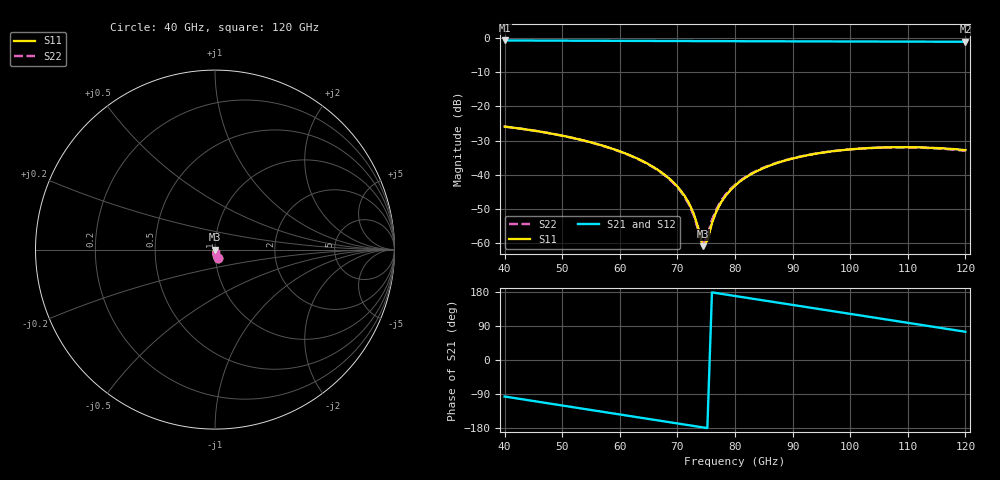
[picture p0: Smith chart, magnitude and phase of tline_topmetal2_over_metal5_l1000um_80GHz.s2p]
#  GHZ S DB R 50
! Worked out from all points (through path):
!   101 points, 40 GHz to 120 GHz, reference 50 ohm
!   highest |S21| = -0.73 dB at 40 GHz (marker M1); lowest = -1.1 dB at 120 GHz (marker M2)
!   group delay of S21, straight-line fit = 6.57 ps
!   lowest |S11| = -60.9 dB at 74.4 GHz (marker M3), VSWR 1.00, Z = 50 - j0.0898 ohm
!   |S11| at or under -10 dB: start of sweep to end of sweep
!   |S22| runs from -60.7 to -25.9 dB; largest |S21 - S12| = 1e-14
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40  -25.92 -70.3  -0.73 -96.3  -0.73 -96.3  -25.93 -70.3
46.4  -27.46 -84.9  -0.76 -111.5  -0.76 -111.5  -27.48 -84.9
53.6  -29.94 -101.2  -0.80 -128.6  -0.80 -128.6  -29.97 -101.1
61.6  -34.22 -118.8  -0.85 -147.5  -0.85 -147.5  -34.29 -118.5
67.2  -39.29 -129.9  -0.88 -160.8  -0.88 -160.8  -39.43 -129.4
69.6  -42.76 -133.3  -0.89 -166.5  -0.89 -166.5  -42.96 -132.5
72  -48.32 -133.1  -0.90 -172.1  -0.90 -172.1  -48.70 -131.1
72.8  -51.26 -129.9  -0.91 -174.0  -0.91 -174.0  -51.75 -126.8
73.6  -55.40 -120.4  -0.91 -175.9  -0.91 -175.9  -56.01 -114.3
74.4  -60.92 -86.2  -0.91 -177.8  -0.91 -177.8  -60.68 -73.0
75.2  -59.34 -21.8  -0.92 -179.7  -0.92 -179.7  -57.89 -18.0
76  -54.16 0.7  -0.92 178.4  -0.92 178.4  -53.27 0.7
76.8  -50.59 7.4  -0.93 176.5  -0.93 176.5  -50.00 6.8
78.4  -46.08 10.2  -0.93 172.8  -0.93 172.8  -45.73 9.6
80  -43.19 9.2  -0.94 169.0  -0.94 169.0  -42.94 8.7
82.4  -40.24 5.5  -0.95 163.3  -0.95 163.3  -40.07 5.1
85.6  -37.62 -0.8  -0.97 155.8  -0.97 155.8  -37.50 -1.0
93.6  -33.99 -18.4  -1.00 136.9  -1.00 136.9  -33.94 -18.5
100.8  -32.49 -35.2  -1.03 119.9  -1.03 119.9  -32.48 -35.1
107.2  -31.98 -50.4  -1.06 104.8  -1.06 104.8  -32.02 -50.2
113.6  -32.10 -65.9  -1.08 89.6  -1.08 89.6  -32.20 -65.5
120  -32.81 -81.8  -1.11 74.5  -1.11 74.5  -33.00 -81.0
